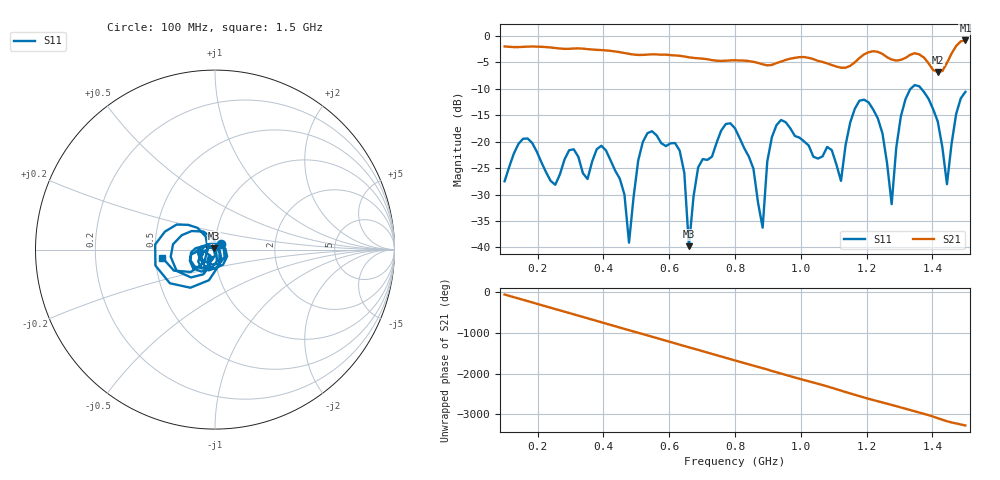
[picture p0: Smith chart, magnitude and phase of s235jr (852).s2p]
! NanoVNA-App
! Date: 2025-09-25 15:10:48
! Start: 100MHz Stop: 1,5GHz Points: 101
! S-Parameter data: F S11 S21 S12 S22
# Hz S RI R 50
!  Frequency  S11_Real  S11_Imag  S21_Real  S21_Imag  S12_Real  S12_Imag  S22_Real  S22_Imag
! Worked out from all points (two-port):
!   101 points, 100 MHz to 1.5 GHz, reference 50 ohm
!   highest |S21| = -0.83 dB at 1.5 GHz (marker M1); lowest = -6.8 dB at 1.416 GHz (marker M2)
!   |S21| within 3 dB of the highest: start of sweep to 642.7 MHz; 1.185 GHz to 1.258 GHz (73.38 MHz wide, 6.01 % of centre) (the widest 2 of 4)
!   lowest |S11| = -39.8 dB at 660 MHz (marker M3), VSWR 1.02, Z = 49.2 + j0.61 ohm
!   |S11| at or under -10 dB: start of sweep to 1.333 GHz; 1.366 GHz to end of sweep
!   S12 and S22 are empty: the file has one direction only
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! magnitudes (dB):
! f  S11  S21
! 100 MHz  -27.5  -2.0
! 156 MHz  -19.4  -2.1
! 338 MHz  -26.0  -2.4
! 408 MHz  -21.6  -2.7
! 478 MHz  -39.1  -3.4
! 520 MHz  -20.0  -3.6
! 576 MHz  -20.3  -3.5
! 632 MHz  -21.7  -3.7
! 660 MHz  -39.8  -4.0
! 688 MHz  -24.9  -4.2
! 800 MHz  -17.5  -4.6
! 884 MHz  -36.3  -5.3
! 926 MHz  -16.9  -5.1
! 1.038 GHz  -22.8  -4.4
! 1.122 GHz  -27.4  -6.0
! 1.164 GHz  -13.8  -5.0
! 1.206 GHz  -12.6  -3.1
! 1.276 GHz  -31.8  -4.4
! 1.332 GHz  -10.1  -3.6
! 1.416 GHz  -16.2  -6.8
! 1.444 GHz  -28.0  -5.1
! 1.5 GHz  -10.6  -0.8
